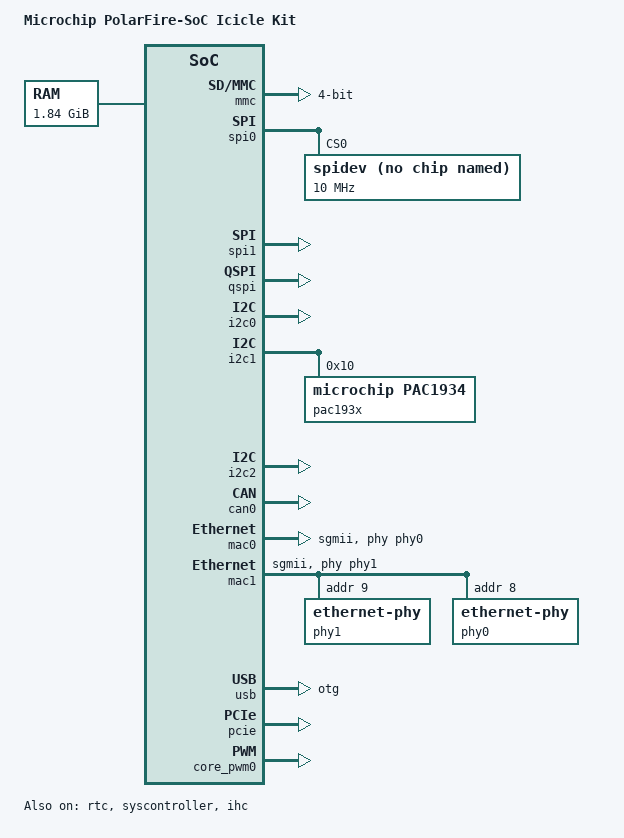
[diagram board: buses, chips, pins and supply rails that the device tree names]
// SPDX-License-Identifier: (GPL-2.0 OR MIT)
/* Copyright (c) 2020-2021 Microchip Technology Inc */

/dts-v1/;

#include "microchip-mpfs.dtsi"

/* Clock frequency (in Hz) of the rtcclk */
#define RTCCLK_FREQ		1000000

/ {
	model = "Microchip PolarFire-SoC Icicle Kit";
	compatible = "microchip,mpfs-icicle-kit", "microchip,mpfs";

	aliases {
		ethernet0 = &mac1;
		serial0 = &mmuart0;
		serial1 = &mmuart1;
		serial2 = &mmuart2;
		serial3 = &mmuart3;
		serial4 = &mmuart4;
	};

	chosen {
		stdout-path = "serial1:115200n8";
	};

	cpus {
		timebase-frequency = <RTCCLK_FREQ>;
	};

	reserved-memory {
		ranges;
		#size-cells = <2>;
		#address-cells = <2>;

		/*
		* 0x10_75BB_0000 ~ 0x10_75FB_0000 is reserved for context B (BM/RTOS)
		* Shouldn't be used in Linux (context A)
		*
		* 0x10_75FB_0000 ~ 0x10_75FC_0000 is used by context A and context B
		  RPMsg vrings
		*/

		fabricbuf0: fabricbuf@0 {
			compatible = "shared-dma-pool";
			reg = <0x0 0x80000000 0x0 0x2000000>;
			label = "fabricbuf0-ddr-c";
		};

		fabricbuf1: fabricbuf@1 {
			compatible = "shared-dma-pool";
			reg = <0x0 0xc0000000 0x0 0x8000000>;
			label = "fabricbuf1-ddr-nc";
		};

		fabricbuf2: fabricbuf@2 {
			compatible = "shared-dma-pool";
			reg = <0x0 0xd0000000 0x0 0x8000000>;
			label = "fabricbuf2-ddr-nc-wcb";
		};

		rpmsg_dma_reserved: rpmsg_dma@0x1075FC0000 {
			compatible = "shared-dma-pool";
			reg = <0x10 0x75FC0000 0x0 0x40000>;
			label = "rpmsg-ddr";
		};
	};

	udmabuf0 {
		compatible = "ikwzm,u-dma-buf";
		device-name = "udmabuf-ddr-c0";
		minor-number = <0>;
		size = <0x0 0x2000000>;
		memory-region = <&fabricbuf0>;
		sync-mode = <3>;
	};

	udmabuf1 {
		compatible = "ikwzm,u-dma-buf";
		device-name = "udmabuf-ddr-nc0";
		minor-number = <1>;
		size = <0x0 0x8000000>;
		memory-region = <&fabricbuf1>;
		sync-mode = <3>;
	};

	udmabuf2 {
		compatible = "ikwzm,u-dma-buf";
		device-name = "udmabuf-ddr-nc-wcb0";
		minor-number = <2>;
		size = <0x0 0x8000000>;
		memory-region = <&fabricbuf2>;
		sync-mode = <3>;
	};

	ddrc_cache: memory@1000000000 {
		device_type = "memory";
		reg = <0x10 0x0 0x0 0x75BB0000>;
		clocks = <&clkcfg CLK_DDRC>;
		status = "okay";
	};

	rpmsg: rpmsg {
		compatible = "microchip,miv-rpmsg";
		reg =  <0x10 0x75FB0000 0x0 0x10000>; // 64Kb reserved for vrings
		memory-region = <&rpmsg_dma_reserved>;
		mboxes= <&ihc 0>;
	};
};

&refclk {
	clock-frequency = <600000000>;
};

&mmuart1 {
	status = "okay";
};

&mmuart2 {
	status = "okay";
};

&mmuart3 {
	status = "disabled"; // in use by context b
};

&mmuart4 {
	status = "okay";
};

&mmc {
	status = "okay";
	bus-width = <4>;
	disable-wp;
	cap-sd-highspeed;
	cap-mmc-highspeed;
	card-detect-delay = <200>;
	mmc-ddr-1_8v;
	mmc-hs200-1_8v;
	sd-uhs-sdr12;
	sd-uhs-sdr25;
	sd-uhs-sdr50;
	sd-uhs-sdr104;
};

&spi0 {
	status = "okay";
	spidev@0 {
		compatible = "linux,spidev";
		reg = <0>; /* CS 0 */
		spi-max-frequency = <10000000>;
		status = "okay";
	};
};

&spi1 {
	status = "okay";
};

&qspi {
	status = "okay";
};

&i2c0 {
	status = "okay";
};

&i2c1 {
	status = "okay";
	pac193x: adc@10 {
		compatible = "microchip,pac1934";
		reg = <0x10>;
		microchip,samp-rate = <64>;
		status = "okay";
		ch0: channel0 {
			microchip,uohms-shunt-res = <10000>;
			rail-name = "VDDREG";
			microchip,channel-enabled;
		};
		ch1: channel1 {
			microchip,uohms-shunt-res = <10000>;
			rail-name = "VDDA25";
			microchip,channel-enabled;
		};
		ch2: channel2 {
			microchip,uohms-shunt-res = <10000>;
			rail-name = "VDD25";
			microchip,channel-enabled;
		};
		ch3: channel3 {
			microchip,uohms-shunt-res = <10000>;
			rail-name = "VDDA_REG";
			microchip,channel-enabled;
		};
	};
};

&i2c2 {
	status = "okay";
};

&can0 {
	status = "okay";
};

&mac0 {
	status = "okay";
	phy-mode = "sgmii";
	phy-handle = <&phy0>;
};

&mac1 {
	status = "okay";
	phy-mode = "sgmii";
	phy-handle = <&phy1>;
	phy1: ethernet-phy@9 {
		reg = <9>;
		ti,fifo-depth = <0x1>;
	};
	phy0: ethernet-phy@8 {
		reg = <8>;
		ti,fifo-depth = <0x1>;
	};
};

&gpio2 {
	interrupts = <PLIC_INT_GPIO2_NON_DIRECT>, <PLIC_INT_GPIO2_NON_DIRECT>,
		     <PLIC_INT_GPIO2_NON_DIRECT>, <PLIC_INT_GPIO2_NON_DIRECT>,
		     <PLIC_INT_GPIO2_NON_DIRECT>, <PLIC_INT_GPIO2_NON_DIRECT>,
		     <PLIC_INT_GPIO2_NON_DIRECT>, <PLIC_INT_GPIO2_NON_DIRECT>,
		     <PLIC_INT_GPIO2_NON_DIRECT>, <PLIC_INT_GPIO2_NON_DIRECT>,
		     <PLIC_INT_GPIO2_NON_DIRECT>, <PLIC_INT_GPIO2_NON_DIRECT>,
		     <PLIC_INT_GPIO2_NON_DIRECT>, <PLIC_INT_GPIO2_NON_DIRECT>,
		     <PLIC_INT_GPIO2_NON_DIRECT>, <PLIC_INT_GPIO2_NON_DIRECT>,
		     <PLIC_INT_GPIO2_NON_DIRECT>, <PLIC_INT_GPIO2_NON_DIRECT>,
		     <PLIC_INT_GPIO2_NON_DIRECT>, <PLIC_INT_GPIO2_NON_DIRECT>,
		     <PLIC_INT_GPIO2_NON_DIRECT>, <PLIC_INT_GPIO2_NON_DIRECT>,
		     <PLIC_INT_GPIO2_NON_DIRECT>, <PLIC_INT_GPIO2_NON_DIRECT>,
		     <PLIC_INT_GPIO2_NON_DIRECT>, <PLIC_INT_GPIO2_NON_DIRECT>,
		     <PLIC_INT_GPIO2_NON_DIRECT>, <PLIC_INT_GPIO2_NON_DIRECT>,
		     <PLIC_INT_GPIO2_NON_DIRECT>, <PLIC_INT_GPIO2_NON_DIRECT>,
		     <PLIC_INT_GPIO2_NON_DIRECT>, <PLIC_INT_GPIO2_NON_DIRECT>;
	status = "okay";
};

&rtc {
	status = "okay";
};

&usb {
	status = "okay";
	dr_mode = "otg";
};

&mbox {
	status = "okay";
};

&syscontroller {
	status = "okay";
};

&pcie {
	status = "okay";
};

&core_pwm0 {
	status = "okay";
};

&ihc {
	status = "okay";
};

&cpu4 {
	status = "disabled"; // in use by context b
};
